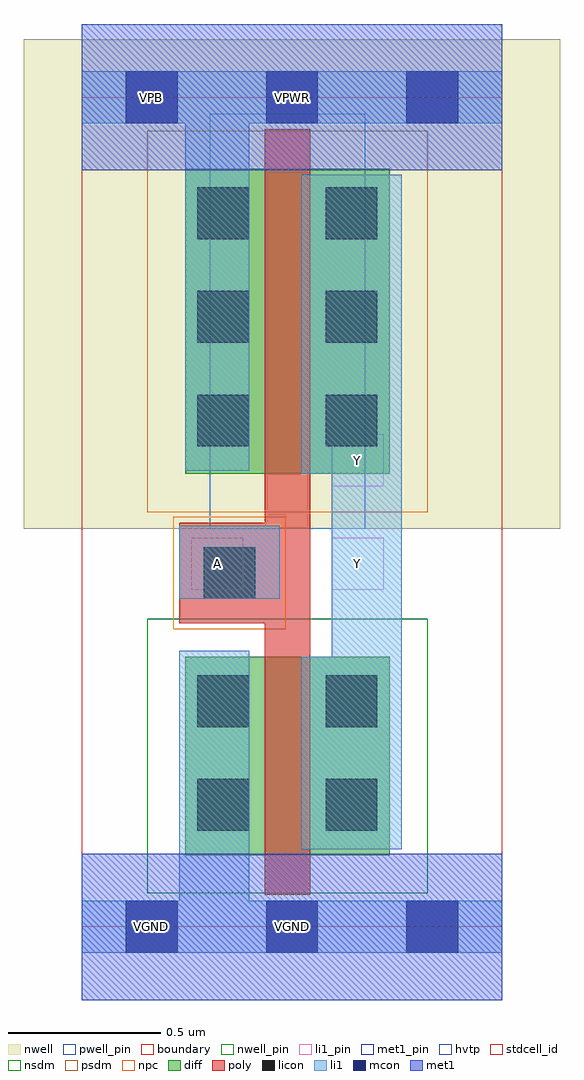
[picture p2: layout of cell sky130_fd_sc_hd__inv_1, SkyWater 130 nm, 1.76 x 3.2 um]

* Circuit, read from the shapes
.subckt sky130_fd_sc_hd__inv_1 A VGND VNB VPB VPWR Y
XM1 Y A VGND VNB sky130_fd_pr__nfet_01v8 w=0.65 l=0.15
XM2 Y A VPWR VPB sky130_fd_pr__pfet_01v8_hvt w=1 l=0.15
.ends

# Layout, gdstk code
import gdstk
lib = gdstk.Library(unit=1e-6, precision=1e-09)
def R(c, l, rs):  # rectangles x0, y0, x1, y1
    for r in rs: c.add(gdstk.rectangle(r[:2], r[2:], *l))
nwell_pin = (64, 16)
nwell = (64, 20)
diff = (65, 20)
poly = (66, 20)
licon = (66, 44)
li1_pin = (67, 16)
li1 = (67, 20)
mcon = (67, 44)
met1_pin = (68, 16)
met1 = (68, 20)
hvtp = (78, 44)
stdcell_id = (81, 4)
nsdm = (93, 44)
psdm = (94, 20)
npc = (95, 20)
pwell_pin = (122, 16)
boundary = (235, 4)

sky130_fd_sc_hd__inv_1 = lib.new_cell('sky130_fd_sc_hd__inv_1')
R(sky130_fd_sc_hd__inv_1, nwell_pin, [(0.145,2.635,0.315,2.805), (0.145,2.635,0.315,2.805)])
R(sky130_fd_sc_hd__inv_1, nwell, [(-0.19,1.305,1.57,2.91), (-0.19,1.305,1.57,2.91)])
R(sky130_fd_sc_hd__inv_1, diff, [(0.34,0.235,1.01,0.885), (0.34,0.235,1.01,0.885), (0.34,1.485,1.01,2.485), (0.34,1.485,1.01,2.485)])
R(sky130_fd_sc_hd__inv_1, poly, [(0.6,0.105,0.75,0.995), (0.6,0.105,0.75,0.995), (0.32,0.995,0.75,1.325), (0.32,0.995,0.75,1.325), (0.6,1.325,0.75,2.615), (0.6,1.325,0.75,2.615)])
R(sky130_fd_sc_hd__inv_1, licon, [(0.38,0.315,0.55,0.485), (0.38,0.315,0.55,0.485), (0.8,0.315,0.97,0.485), (0.8,0.315,0.97,0.485), (0.38,0.655,0.55,0.825), (0.38,0.655,0.55,0.825), (0.8,0.655,0.97,0.825), (0.8,0.655,0.97,0.825), (0.4,1.075,0.57,1.245), (0.4,1.075,0.57,1.245), (0.38,1.575,0.55,1.745), (0.38,1.575,0.55,1.745), (0.8,1.575,0.97,1.745), (0.8,1.575,0.97,1.745), (0.38,1.915,0.55,2.085), (0.38,1.915,0.55,2.085), (0.8,1.915,0.97,2.085), (0.8,1.915,0.97,2.085), (0.38,2.255,0.55,2.425), (0.38,2.255,0.55,2.425), (0.8,2.255,0.97,2.425), (0.8,2.255,0.97,2.425)])
R(sky130_fd_sc_hd__inv_1, li1_pin, [(0.36,1.105,0.53,1.275), (0.36,1.105,0.53,1.275), (0.82,1.105,0.99,1.275), (0.82,1.105,0.99,1.275), (0.82,1.445,0.99,1.615), (0.82,1.445,0.99,1.615)])
R(sky130_fd_sc_hd__inv_1, li1, [(0,-0.085,1.38,0.085), (0,-0.085,1.38,0.085), (0.32,0.085,0.55,0.905), (0.32,0.085,0.55,0.905), (0.72,0.255,1.05,0.885), (0.72,0.255,1.05,0.885), (0.82,0.885,1.05,1.485), (0.82,0.885,1.05,1.485), (0.32,1.075,0.65,1.315), (0.32,1.075,0.65,1.315), (0.72,1.485,1.05,2.465), (0.72,1.485,1.05,2.465), (0.34,1.495,0.55,2.635), (0.34,1.495,0.55,2.635), (0,2.635,1.38,2.805), (0,2.635,1.38,2.805)])
R(sky130_fd_sc_hd__inv_1, mcon, [(0.145,-0.085,0.315,0.085), (0.145,-0.085,0.315,0.085), (0.605,-0.085,0.775,0.085), (0.605,-0.085,0.775,0.085), (1.065,-0.085,1.235,0.085), (1.065,-0.085,1.235,0.085), (0.145,2.635,0.315,2.805), (0.145,2.635,0.315,2.805), (0.605,2.635,0.775,2.805), (0.605,2.635,0.775,2.805), (1.065,2.635,1.235,2.805), (1.065,2.635,1.235,2.805)])
R(sky130_fd_sc_hd__inv_1, met1_pin, [(0,-0.24,1.38,0.24), (0,-0.24,1.38,0.24), (0.145,-0.085,0.315,0.085), (0.145,-0.085,0.315,0.085), (0,2.48,1.38,2.96), (0,2.48,1.38,2.96), (0.145,2.635,0.315,2.805), (0.145,2.635,0.315,2.805)])
R(sky130_fd_sc_hd__inv_1, met1, [(0,-0.24,1.38,0.24), (0,-0.24,1.38,0.24), (0,2.48,1.38,2.96), (0,2.48,1.38,2.96)])
R(sky130_fd_sc_hd__inv_1, hvtp, [(0.42,1.305,0.93,2.665), (0.42,1.305,0.93,2.665)])
R(sky130_fd_sc_hd__inv_1, stdcell_id, [(0,0,1.38,2.72), (0,0,1.38,2.72)])
R(sky130_fd_sc_hd__inv_1, nsdm, [(0.215,0.11,1.135,1.01), (0.215,0.11,1.135,1.01)])
R(sky130_fd_sc_hd__inv_1, psdm, [(0.215,1.36,1.135,2.61), (0.215,1.36,1.135,2.61)])
R(sky130_fd_sc_hd__inv_1, npc, [(0.3,0.975,0.67,1.345), (0.3,0.975,0.67,1.345)])
R(sky130_fd_sc_hd__inv_1, pwell_pin, [(0.145,-0.085,0.315,0.085), (0.145,-0.085,0.315,0.085)])
R(sky130_fd_sc_hd__inv_1, boundary, [(0,0,1.38,2.72), (0,0,1.38,2.72)])
sky130_fd_sc_hd__inv_1.add(gdstk.Label('A', (0.445,1.19), layer=67, texttype=5))
sky130_fd_sc_hd__inv_1.add(gdstk.Label('VGND', (0.69,0), layer=68, texttype=5))
sky130_fd_sc_hd__inv_1.add(gdstk.Label('VGND', (0.23,0), layer=68, texttype=5))
sky130_fd_sc_hd__inv_1.add(gdstk.Label('VNB', (0.23,0), layer=64, texttype=59))
sky130_fd_sc_hd__inv_1.add(gdstk.Label('VPB', (0.23,2.72), layer=64, texttype=5))
sky130_fd_sc_hd__inv_1.add(gdstk.Label('VPWR', (0.69,2.72), layer=68, texttype=5))
sky130_fd_sc_hd__inv_1.add(gdstk.Label('VPWR', (0.23,2.72), layer=68, texttype=5))
sky130_fd_sc_hd__inv_1.add(gdstk.Label('Y', (0.905,1.19), layer=67, texttype=5))
sky130_fd_sc_hd__inv_1.add(gdstk.Label('Y', (0.905,1.53), layer=67, texttype=5))
sky130_fd_sc_hd__inv_1.add(gdstk.Label('A', (0.445,1.19), layer=67, texttype=5))
sky130_fd_sc_hd__inv_1.add(gdstk.Label('VGND', (0.69,0), layer=68, texttype=5))
sky130_fd_sc_hd__inv_1.add(gdstk.Label('VGND', (0.23,0), layer=68, texttype=5))
sky130_fd_sc_hd__inv_1.add(gdstk.Label('VNB', (0.23,0), layer=64, texttype=59))
sky130_fd_sc_hd__inv_1.add(gdstk.Label('VPB', (0.23,2.72), layer=64, texttype=5))
sky130_fd_sc_hd__inv_1.add(gdstk.Label('VPWR', (0.69,2.72), layer=68, texttype=5))
sky130_fd_sc_hd__inv_1.add(gdstk.Label('VPWR', (0.23,2.72), layer=68, texttype=5))
sky130_fd_sc_hd__inv_1.add(gdstk.Label('Y', (0.905,1.19), layer=67, texttype=5))
sky130_fd_sc_hd__inv_1.add(gdstk.Label('Y', (0.905,1.53), layer=67, texttype=5))

lib.write_gds('sky130_fd_sc_hd__inv_1.gds')
